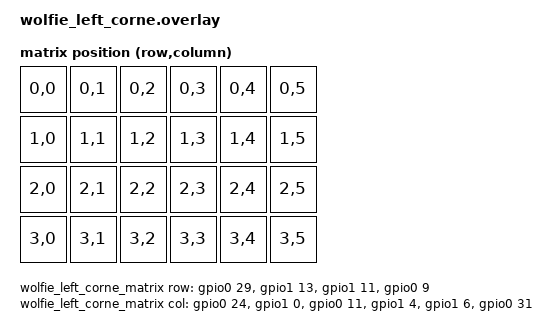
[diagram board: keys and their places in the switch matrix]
/*
 * Wolfie left half: standalone Corne default-layer layout.
 * DIODE: banded side goes to ROW; same col2row setting as tested right.
 * 6 columns, 4 rows; board nice_nano/nrf52840/zmk.
 * The GPIO order below is from the user's left-side solder map.
 * Left nice!view is wired to P0.06 CS, P0.20 SCK, P0.17 MOSI
 * but is deliberately NOT enabled here.
 */
#include <dt-bindings/zmk/matrix_transform.h>
#include <zephyr/dt-bindings/gpio/gpio.h>

/ {
    wolfie_left_corne_matrix: wolfie_left_matrix {
        compatible = "zmk,kscan-gpio-matrix";
        diode-direction = "col2row";
        row-gpios = <&gpio0 29 (GPIO_ACTIVE_HIGH | GPIO_PULL_DOWN)>,
                    <&gpio1 13 (GPIO_ACTIVE_HIGH | GPIO_PULL_DOWN)>,
                    <&gpio1 11 (GPIO_ACTIVE_HIGH | GPIO_PULL_DOWN)>,
                    <&gpio0 9 (GPIO_ACTIVE_HIGH | GPIO_PULL_DOWN)>;
        col-gpios = <&gpio0 24 GPIO_ACTIVE_HIGH>,
                    <&gpio1 0 GPIO_ACTIVE_HIGH>,
                    <&gpio0 11 GPIO_ACTIVE_HIGH>,
                    <&gpio1 4 GPIO_ACTIVE_HIGH>,
                    <&gpio1 6 GPIO_ACTIVE_HIGH>,
                    <&gpio0 31 GPIO_ACTIVE_HIGH>;
    };

    wolfie_left_corne_transform: wolfie_left_transform {
        compatible = "zmk,matrix-transform";
        rows = <4>;
        columns = <6>;
        map = <
            RC(0,0) RC(0,1) RC(0,2) RC(0,3) RC(0,4) RC(0,5)
            RC(1,0) RC(1,1) RC(1,2) RC(1,3) RC(1,4) RC(1,5)
            RC(2,0) RC(2,1) RC(2,2) RC(2,3) RC(2,4) RC(2,5)
            RC(3,0) RC(3,1) RC(3,2) RC(3,3) RC(3,4) RC(3,5)
        >;
    };

    wolfie_left_corne_layout: wolfie_left_layout {
        compatible = "zmk,physical-layout";
        display-name = "Left Corne Default";
        kscan = <&wolfie_left_corne_matrix>;
        transform = <&wolfie_left_corne_transform>;
    };

    chosen {
        zmk,physical-layout = &wolfie_left_corne_layout;
    };
};
